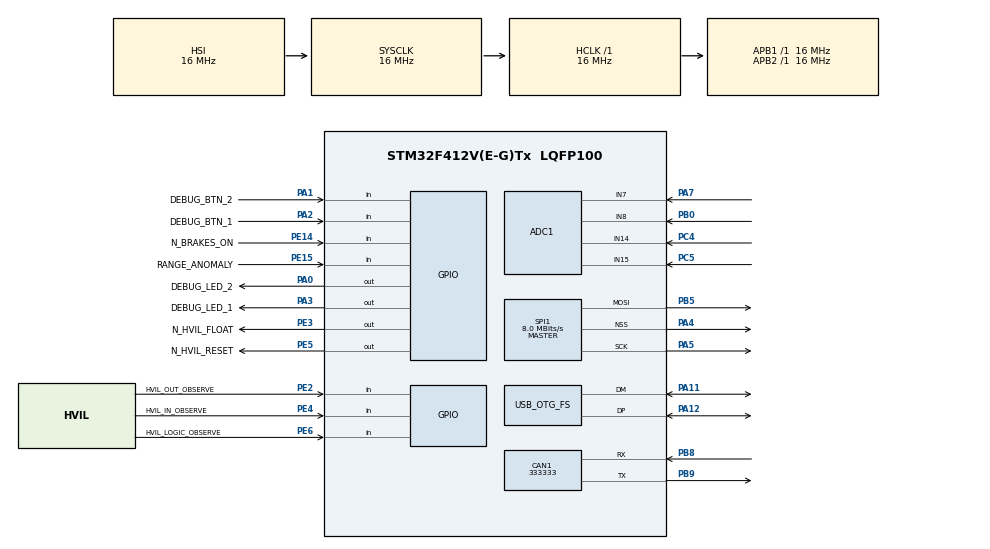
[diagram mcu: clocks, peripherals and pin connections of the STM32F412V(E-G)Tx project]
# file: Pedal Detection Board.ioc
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ADC1.Channel-0\#ChannelRegularConversion=ADC_CHANNEL_7
ADC1.ContinuousConvMode=ENABLE
ADC1.DiscontinuousConvMode=DISABLE
ADC1.NbrOfConversion=1
ADC1.NbrOfConversionFlag=1
ADC1.Rank-0\#ChannelRegularConversion=1
ADC1.SamplingTime-0\#ChannelRegularConversion=ADC_SAMPLETIME_3CYCLES
ADC1.ScanConvMode=ENABLE
ADC1.master=1
CAN1.BS1=CAN_BS1_1TQ
CAN1.BS2=CAN_BS2_1TQ
CAN1.CalculateBaudRate=333333
CAN1.CalculateTimeBit=3000
CAN1.CalculateTimeQuantum=1000.0
Mcu.Family=STM32F4
Mcu.Name=STM32F412V(E-G)Tx
Mcu.Package=LQFP100
NVIC.OTG_FS_IRQn=true\:0\:0\:false\:false\:true\:false\:true\:true
NVIC.PriorityGroup=NVIC_PRIORITYGROUP_4
PA0.GPIO_Label=DEBUG_LED_2
PA0.GPIO_PuPd=GPIO_PULLDOWN
PA0.Signal=GPIO_Output
PA1.GPIO_Label=DEBUG_BTN_2
PA1.Signal=GPIO_Input
PA11.Mode=Device_Only
PA11.Signal=USB_OTG_FS_DM
PA12.Mode=Device_Only
PA12.Signal=USB_OTG_FS_DP
PA13.Mode=Serial_Wire
PA13.Signal=SYS_JTMS-SWDIO
PA14.Mode=Serial_Wire
PA14.Signal=SYS_JTCK-SWCLK
PA2.GPIO_Label=DEBUG_BTN_1
PA2.Signal=GPIO_Input
PA3.GPIO_Label=DEBUG_LED_1
PA3.GPIO_PuPd=GPIO_PULLDOWN
PA3.Signal=GPIO_Output
PA4.Mode=NSS_Signal_Hard_Output
PA4.Signal=SPI1_NSS
PA5.Mode=TX_Only_Simplex_Unidirect_Master
PA5.Signal=SPI1_SCK
PA7.Signal=ADCx_IN7
PB0.Signal=ADCx_IN8
PB5.Mode=TX_Only_Simplex_Unidirect_Master
PB5.Signal=SPI1_MOSI
PB8.Mode=CAN_Activate
PB8.Signal=CAN1_RX
PB9.Mode=CAN_Activate
PB9.Signal=CAN1_TX
PC4.Signal=ADCx_IN14
PC5.Signal=ADCx_IN15
PE14.GPIO_Label=N_BRAKES_ON
PE14.GPIO_PuPd=GPIO_PULLUP
PE14.Signal=GPIO_Input
PE15.GPIO_Label=RANGE_ANOMALY
PE15.GPIO_PuPd=GPIO_NOPULL
PE15.Signal=GPIO_Input
PE2.GPIO_Label=HVIL_OUT_OBSERVE
PE2.Signal=GPIO_Input
PE3.GPIO_Label=N_HVIL_FLOAT
PE3.GPIO_PuPd=GPIO_PULLUP
PE3.PinState=GPIO_PIN_SET
PE3.Signal=GPIO_Output
PE4.GPIO_Label=HVIL_IN_OBSERVE
PE4.Signal=GPIO_Input
PE5.GPIO_Label=N_HVIL_RESET
PE5.GPIO_PuPd=GPIO_PULLUP
PE5.PinState=GPIO_PIN_SET
PE5.Signal=GPIO_Output
PE6.GPIO_Label=HVIL_LOGIC_OBSERVE
PE6.Signal=GPIO_Input
PH0\ -\ OSC_IN.Mode=HSE-External-Oscillator
PH0\ -\ OSC_IN.Signal=RCC_OSC_IN
PH1\ -\ OSC_OUT.Mode=HSE-External-Oscillator
PH1\ -\ OSC_OUT.Signal=RCC_OSC_OUT
ProjectManager.HeapSize=0x200
ProjectManager.StackSize=0x400
ProjectManager.TargetToolchain=STM32CubeIDE
RCC.AHBFreq_Value=16000000
RCC.APB1Freq_Value=16000000
RCC.APB1TimFreq_Value=16000000
RCC.APB2Freq_Value=16000000
RCC.APB2TimFreq_Value=16000000
RCC.CortexFreq_Value=16000000
RCC.HCLKFreq_Value=16000000
RCC.HSE_VALUE=8000000
RCC.PLLM=4
RCC.PLLN=72
RCC.PLLQ=3
RCC.SYSCLKFreq_VALUE=16000000
RCC.USBFreq_Value=48000000
RCC.VCOOutputFreq_Value=144000000
SH.ADCx_IN14.0=ADC1_IN14,IN14
SH.ADCx_IN15.0=ADC1_IN15,IN15
SH.ADCx_IN7.0=ADC1_IN7,IN7
SH.ADCx_IN8.0=ADC1_IN8,IN8
SPI1.CalculateBaudRate=8.0 MBits/s
SPI1.Direction=SPI_DIRECTION_2LINES
SPI1.Mode=SPI_MODE_MASTER
SPI1.VirtualNSS=VM_NSSHARD
SPI1.VirtualType=VM_MASTER
USB_DEVICE.CLASS_NAME_FS=CDC
USB_DEVICE.VirtualMode=Cdc
USB_DEVICE.VirtualModeFS=Cdc_FS
USB_OTG_FS.VirtualMode=Device_Only
VP_USB_DEVICE_VS_USB_DEVICE_CDC_FS.Mode=CDC_FS
board=custom

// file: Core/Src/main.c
/* USER CODE BEGIN Header */
/**
  ******************************************************************************
  * @file           : main.c
  * @brief          : Main program body
  ******************************************************************************
  * @attention
  *
  * Copyright (c) 2023 STMicroelectronics.
  * All rights reserved.
  *
  * This software is licensed under terms that can be found in the LICENSE file
  * in the root directory of this software component.
  * If no LICENSE file comes with this software, it is provided AS-IS.
  *
  ******************************************************************************
  */
/* USER CODE END Header */
#include "main.h"
#include "usb_device.h"

/* USER CODE BEGIN PD */
#define ADC_TIMEOUT_MS 100
#define DEVICE_ID 0x000
/* USER CODE END PD */

ADC_HandleTypeDef hadc1;

CAN_HandleTypeDef hcan1;

SPI_HandleTypeDef hspi1;

/* USER CODE BEGIN PV */
enum {
	APPS1_CHANNEL=ADC_CHANNEL_7,
	APPS2_CHANNEL=ADC_CHANNEL_15,
	BSE1_CHANNEL=ADC_CHANNEL_14,
	BSE2_CHANNEL=ADC_CHANNEL_7,
};
const uint32_t sensor_channels[] = {APPS1_CHANNEL, APPS2_CHANNEL, BSE1_CHANNEL, BSE2_CHANNEL};
/* USER CODE END PV */

void SystemClock_Config(void);
static void MX_GPIO_Init(void);
static void MX_ADC1_Init(void);
static void MX_CAN1_Init(void);
static void MX_SPI1_Init(void);
/* USER CODE BEGIN PFP */
void ADC_channel_select(int channel);
/* USER CODE END PFP */

/* USER CODE BEGIN 0 */
void ADC_channel_select(int channel)
{
  ADC_ChannelConfTypeDef sConfig = {0};
  sConfig.Channel = channel;
  sConfig.Rank = 1;
  sConfig.SamplingTime = ADC_SAMPLETIME_3CYCLES;
  if (HAL_ADC_ConfigChannel(&hadc1, &sConfig) != HAL_OK)
  {
    Error_Handler();
  }
}
/* USER CODE END 0 */

int main(void)
{

  /* MCU Configuration--------------------------------------------------------*/

  /* Reset of all peripherals, Initializes the Flash interface and the Systick. */
  HAL_Init();

  /* Configure the system clock */
  SystemClock_Config();

  /* Initialize all configured peripherals */
  MX_GPIO_Init();
  MX_ADC1_Init();
  MX_CAN1_Init();
  MX_USB_DEVICE_Init();
  MX_SPI1_Init();
  /* USER CODE BEGIN 2 */
  uint8_t 				hvil_out, hvil_logic, hvil_in, debug_btn1, debug_btn2, brakes_on, bad_range;
  uint8_t 				pedal_vals[5];
  CAN_TxHeaderTypeDef   TxHeader;
  uint32_t              TxMailbox;

  TxHeader.IDE = CAN_ID_STD;
  TxHeader.StdId = DEVICE_ID;
  TxHeader.RTR = CAN_RTR_DATA;
  TxHeader.DLC = 5;
  /* USER CODE END 2 */

  /* Infinite loop */
  /* USER CODE BEGIN WHILE */
  while (1)
  {
	hvil_out = HAL_GPIO_ReadPin(GPIOE, HVIL_OUT_OBSERVE_Pin);
	hvil_logic = HAL_GPIO_ReadPin(GPIOE, HVIL_LOGIC_OBSERVE_Pin);
	hvil_in = HAL_GPIO_ReadPin(GPIOE, HVIL_IN_OBSERVE_Pin);
	debug_btn1 = HAL_GPIO_ReadPin(GPIOA, DEBUG_BTN_1_Pin);
	debug_btn2 = HAL_GPIO_ReadPin(GPIOA, DEBUG_BTN_2_Pin);
	brakes_on = !HAL_GPIO_ReadPin(GPIOE, N_BRAKES_ON_Pin);
	bad_range = HAL_GPIO_ReadPin(GPIOE, RANGE_ANOMALY_Pin);

	if (bad_range)
	{
	  Error_Handler();
	}

	/* Read pedal sensor values from ADC */
	for (int i = 0; i < 4; i++)
	{
	  HAL_ADC_Start(&hadc1);
	  ADC_channel_select(sensor_channels[i]);
	  HAL_ADC_PollForConversion(&hadc1, ADC_TIMEOUT_MS);
	  pedal_vals[i] = HAL_ADC_GetValue(&hadc1);
	  HAL_ADC_Stop(&hadc1);
	}

	pedal_vals[4] = brakes_on;
	HAL_CAN_Start(&hcan1);
	if (HAL_CAN_AddTxMessage(&hcan1, &TxHeader, pedal_vals, &TxMailbox) != HAL_OK)
	{
	   Error_Handler ();
	}
	HAL_CAN_Stop(&hcan1);
    /* USER CODE END WHILE */

  }
}

void SystemClock_Config(void)
{
  RCC_OscInitTypeDef RCC_OscInitStruct = {0};
  RCC_ClkInitTypeDef RCC_ClkInitStruct = {0};

  /** Configure the main internal regulator output voltage
  */
  __HAL_RCC_PWR_CLK_ENABLE();
  __HAL_PWR_VOLTAGESCALING_CONFIG(PWR_REGULATOR_VOLTAGE_SCALE1);

  /** Initializes the RCC Oscillators according to the specified parameters
  * in the RCC_OscInitTypeDef structure.
  */
  RCC_OscInitStruct.OscillatorType = RCC_OSCILLATORTYPE_HSI|RCC_OSCILLATORTYPE_HSE;
  RCC_OscInitStruct.HSEState = RCC_HSE_ON;
  RCC_OscInitStruct.HSIState = RCC_HSI_ON;
  RCC_OscInitStruct.HSICalibrationValue = RCC_HSICALIBRATION_DEFAULT;
  RCC_OscInitStruct.PLL.PLLState = RCC_PLL_ON;
  RCC_OscInitStruct.PLL.PLLSource = RCC_PLLSOURCE_HSE;
  RCC_OscInitStruct.PLL.PLLM = 4;
  RCC_OscInitStruct.PLL.PLLN = 72;
  RCC_OscInitStruct.PLL.PLLP = RCC_PLLP_DIV2;
  RCC_OscInitStruct.PLL.PLLQ = 3;
  RCC_OscInitStruct.PLL.PLLR = 2;
  if (HAL_RCC_OscConfig(&RCC_OscInitStruct) != HAL_OK)
  {
    Error_Handler();
  }

  /** Initializes the CPU, AHB and APB buses clocks
  */
  RCC_ClkInitStruct.ClockType = RCC_CLOCKTYPE_HCLK|RCC_CLOCKTYPE_SYSCLK
                              |RCC_CLOCKTYPE_PCLK1|RCC_CLOCKTYPE_PCLK2;
  RCC_ClkInitStruct.SYSCLKSource = RCC_SYSCLKSOURCE_HSI;
  RCC_ClkInitStruct.AHBCLKDivider = RCC_SYSCLK_DIV1;
  RCC_ClkInitStruct.APB1CLKDivider = RCC_HCLK_DIV1;
  RCC_ClkInitStruct.APB2CLKDivider = RCC_HCLK_DIV1;

  if (HAL_RCC_ClockConfig(&RCC_ClkInitStruct, FLASH_LATENCY_0) != HAL_OK)
  {
    Error_Handler();
  }
}

static void MX_ADC1_Init(void)
{

  ADC_ChannelConfTypeDef sConfig = {0};

  /** Configure the global features of the ADC (Clock, Resolution, Data Alignment and number of conversion)
  */
  hadc1.Instance = ADC1;
  hadc1.Init.ClockPrescaler = ADC_CLOCK_SYNC_PCLK_DIV2;
  hadc1.Init.Resolution = ADC_RESOLUTION_12B;
  hadc1.Init.ScanConvMode = ENABLE;
  hadc1.Init.ContinuousConvMode = ENABLE;
  hadc1.Init.DiscontinuousConvMode = DISABLE;
  hadc1.Init.ExternalTrigConvEdge = ADC_EXTERNALTRIGCONVEDGE_NONE;
  hadc1.Init.ExternalTrigConv = ADC_SOFTWARE_START;
  hadc1.Init.DataAlign = ADC_DATAALIGN_RIGHT;
  hadc1.Init.NbrOfConversion = 1;
  hadc1.Init.DMAContinuousRequests = DISABLE;
  hadc1.Init.EOCSelection = ADC_EOC_SINGLE_CONV;
  if (HAL_ADC_Init(&hadc1) != HAL_OK)
  {
    Error_Handler();
  }

  /** Configure for the selected ADC regular channel its corresponding rank in the sequencer and its sample time.
  */
//  sConfig.Channel = ADC_CHANNEL_7;
//  sConfig.Rank = 1;
//  sConfig.SamplingTime = ADC_SAMPLETIME_3CYCLES;
//  if (HAL_ADC_ConfigChannel(&hadc1, &sConfig) != HAL_OK)
//  {
//    Error_Handler();
//  }

}

static void MX_CAN1_Init(void)
{

  hcan1.Instance = CAN1;
  hcan1.Init.Prescaler = 16;
  hcan1.Init.Mode = CAN_MODE_NORMAL;
  hcan1.Init.SyncJumpWidth = CAN_SJW_1TQ;
  hcan1.Init.TimeSeg1 = CAN_BS1_1TQ;
  hcan1.Init.TimeSeg2 = CAN_BS2_1TQ;
  hcan1.Init.TimeTriggeredMode = DISABLE;
  hcan1.Init.AutoBusOff = DISABLE;
  hcan1.Init.AutoWakeUp = DISABLE;
  hcan1.Init.AutoRetransmission = DISABLE;
  hcan1.Init.ReceiveFifoLocked = DISABLE;
  hcan1.Init.TransmitFifoPriority = DISABLE;
  if (HAL_CAN_Init(&hcan1) != HAL_OK)
  {
    Error_Handler();
  }

}

static void MX_SPI1_Init(void)
{

  /* SPI1 parameter configuration*/
  hspi1.Instance = SPI1;
  hspi1.Init.Mode = SPI_MODE_MASTER;
  hspi1.Init.Direction = SPI_DIRECTION_2LINES;
  hspi1.Init.DataSize = SPI_DATASIZE_8BIT;
  hspi1.Init.CLKPolarity = SPI_POLARITY_LOW;
  hspi1.Init.CLKPhase = SPI_PHASE_1EDGE;
  hspi1.Init.NSS = SPI_NSS_HARD_OUTPUT;
  hspi1.Init.BaudRatePrescaler = SPI_BAUDRATEPRESCALER_2;
  hspi1.Init.FirstBit = SPI_FIRSTBIT_MSB;
  hspi1.Init.TIMode = SPI_TIMODE_DISABLE;
  hspi1.Init.CRCCalculation = SPI_CRCCALCULATION_DISABLE;
  hspi1.Init.CRCPolynomial = 10;
  if (HAL_SPI_Init(&hspi1) != HAL_OK)
  {
    Error_Handler();
  }

}

static void MX_GPIO_Init(void)
{
  GPIO_InitTypeDef GPIO_InitStruct = {0};

  /* GPIO Ports Clock Enable */
  __HAL_RCC_GPIOE_CLK_ENABLE();
  __HAL_RCC_GPIOH_CLK_ENABLE();
  __HAL_RCC_GPIOA_CLK_ENABLE();
  __HAL_RCC_GPIOC_CLK_ENABLE();
  __HAL_RCC_GPIOB_CLK_ENABLE();

  /*Configure GPIO pin Output Level */
  HAL_GPIO_WritePin(GPIOE, N_HVIL_FLOAT_Pin|N_HVIL_RESET_Pin, GPIO_PIN_SET);

  /*Configure GPIO pin Output Level */
  HAL_GPIO_WritePin(GPIOA, DEBUG_LED_2_Pin|DEBUG_LED_1_Pin, GPIO_PIN_RESET);

  /*Configure GPIO pins : HVIL_OUT_OBSERVE_Pin HVIL_IN_OBSERVE_Pin HVIL_LOGIC_OBSERVE_Pin RANGE_ANOMALY_Pin */
  GPIO_InitStruct.Pin = HVIL_OUT_OBSERVE_Pin|HVIL_IN_OBSERVE_Pin|HVIL_LOGIC_OBSERVE_Pin|RANGE_ANOMALY_Pin;
  GPIO_InitStruct.Mode = GPIO_MODE_INPUT;
  GPIO_InitStruct.Pull = GPIO_NOPULL;
  HAL_GPIO_Init(GPIOE, &GPIO_InitStruct);

  /*Configure GPIO pins : N_HVIL_FLOAT_Pin N_HVIL_RESET_Pin */
  GPIO_InitStruct.Pin = N_HVIL_FLOAT_Pin|N_HVIL_RESET_Pin;
  GPIO_InitStruct.Mode = GPIO_MODE_OUTPUT_PP;
  GPIO_InitStruct.Pull = GPIO_PULLUP;
  GPIO_InitStruct.Speed = GPIO_SPEED_FREQ_LOW;
  HAL_GPIO_Init(GPIOE, &GPIO_InitStruct);

  /*Configure GPIO pins : DEBUG_LED_2_Pin DEBUG_LED_1_Pin */
  GPIO_InitStruct.Pin = DEBUG_LED_2_Pin|DEBUG_LED_1_Pin;
  GPIO_InitStruct.Mode = GPIO_MODE_OUTPUT_PP;
  GPIO_InitStruct.Pull = GPIO_PULLDOWN;
  GPIO_InitStruct.Speed = GPIO_SPEED_FREQ_LOW;
  HAL_GPIO_Init(GPIOA, &GPIO_InitStruct);

  /*Configure GPIO pins : DEBUG_BTN_2_Pin DEBUG_BTN_1_Pin */
  GPIO_InitStruct.Pin = DEBUG_BTN_2_Pin|DEBUG_BTN_1_Pin;
  GPIO_InitStruct.Mode = GPIO_MODE_INPUT;
  GPIO_InitStruct.Pull = GPIO_NOPULL;
  HAL_GPIO_Init(GPIOA, &GPIO_InitStruct);

  /*Configure GPIO pin : N_BRAKES_ON_Pin */
  GPIO_InitStruct.Pin = N_BRAKES_ON_Pin;
  GPIO_InitStruct.Mode = GPIO_MODE_INPUT;
  GPIO_InitStruct.Pull = GPIO_PULLUP;
  HAL_GPIO_Init(N_BRAKES_ON_GPIO_Port, &GPIO_InitStruct);

}

void Error_Handler(void)
{
  /* USER CODE BEGIN Error_Handler_Debug */
  /* User can add his own implementation to report the HAL error return state */
  __disable_irq();
  HAL_GPIO_WritePin(GPIOE, N_HVIL_FLOAT_Pin, GPIO_PIN_SET);
  while (1)
  {
  }
  /* USER CODE END Error_Handler_Debug */
}
